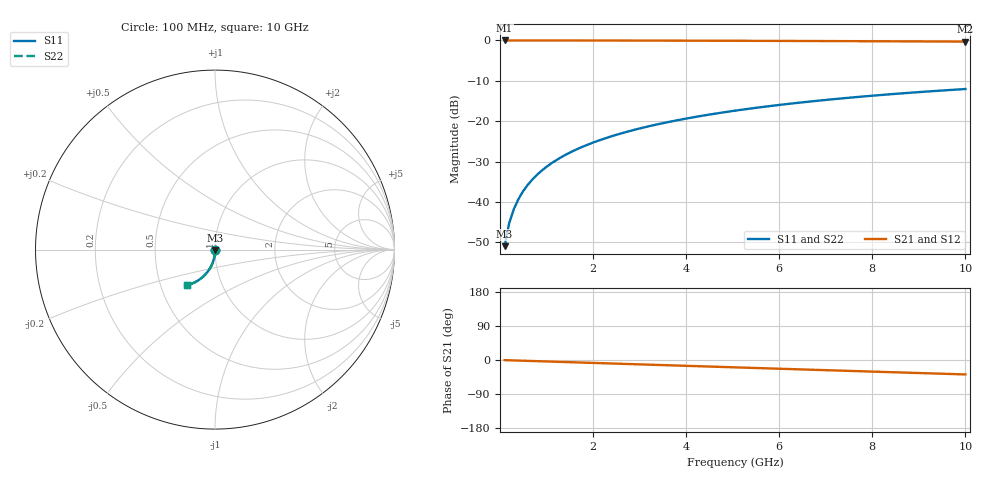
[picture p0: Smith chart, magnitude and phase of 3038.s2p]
# Hz S RI R 50.00
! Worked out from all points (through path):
!   100 points, 100 MHz to 10 GHz, reference 50 ohm
!   highest |S21| = -0.01 dB at 100 MHz (marker M1); lowest = -0.3 dB at 10 GHz (marker M2)
!   group delay of S21, straight-line fit = 10.6 ps
!   lowest |S11| = -51.0 dB at 100 MHz (marker M3), VSWR 1.01, Z = 50.1 - j0.273 ohm
!   |S11| at or under -10 dB: start of sweep to end of sweep
!   |S22| runs from -51.0 to -12.0 dB; largest |S21 - S12| = 0
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1e8  0.000756 -0.00272  0.9992 -0.0067  0.9992 -0.0067  0.000756 -0.00272
2e8  0.000702 -0.00544  0.9991 -0.0134  0.9991 -0.0134  0.000702 -0.00544
3e8  0.00061 -0.00816  0.999 -0.0201  0.999 -0.0201  0.00061 -0.00816
4e8  0.000481 -0.0109  0.9988 -0.0268  0.9988 -0.0268  0.000481 -0.0109
5e8  0.000315 -0.0136  0.9985 -0.0335  0.9985 -0.0335  0.000315 -0.0136
6e8  0.000112 -0.0163  0.9982 -0.0402  0.9982 -0.0402  0.000112 -0.0163
7e8  -0.000127 -0.019  0.9979 -0.0469  0.9979 -0.0469  -0.000127 -0.019
8e8  -0.000403 -0.0217  0.9975 -0.0536  0.9975 -0.0536  -0.000403 -0.0217
9e8  -0.000715 -0.0244  0.997 -0.0603  0.997 -0.0603  -0.000715 -0.0244
1.1e9  -0.00145 -0.0298  0.996 -0.0736  0.996 -0.0736  -0.00145 -0.0298
1.4e9  -0.00282 -0.0379  0.994 -0.0936  0.994 -0.0936  -0.00282 -0.0379
1.8e9  -0.00515 -0.0486  0.9906 -0.1202  0.9906 -0.1202  -0.00515 -0.0486
2.1e9  -0.00728 -0.0565  0.9876 -0.1401  0.9876 -0.1401  -0.00728 -0.0565
2.5e9  -0.0106 -0.0669  0.9828 -0.1664  0.9828 -0.1664  -0.0106 -0.0669
2.9e9  -0.0145 -0.0771  0.9771 -0.1926  0.9771 -0.1926  -0.0145 -0.0771
3.4e9  -0.0201 -0.0895  0.969 -0.225  0.969 -0.225  -0.0201 -0.0895
4.2e9  -0.0307 -0.1085  0.9534 -0.276  0.9534 -0.276  -0.0307 -0.1085
5.1e9  -0.045 -0.1284  0.9323 -0.3318  0.9323 -0.3318  -0.045 -0.1284
5.9e9  -0.0596 -0.1444  0.9105 -0.3798  0.9105 -0.3798  -0.0596 -0.1444
6.7e9  -0.0757 -0.1588  0.886 -0.4262  0.886 -0.4262  -0.0757 -0.1588
8.4e9  -0.1142 -0.1829  0.826 -0.5183  0.826 -0.5183  -0.1142 -0.1829
1e10  -0.1538 -0.1971  0.7609 -0.5964  0.7609 -0.5964  -0.1538 -0.1971
